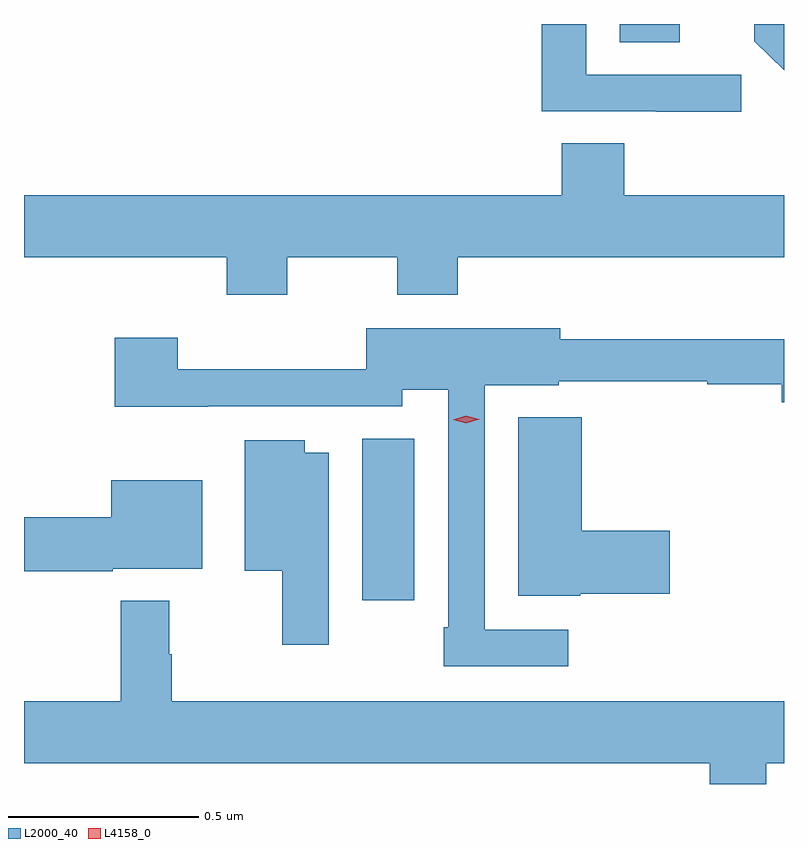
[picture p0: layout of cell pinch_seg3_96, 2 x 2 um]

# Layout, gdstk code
import gdstk
lib = gdstk.Library(unit=1e-6, precision=1e-09)
def R(c, l, rs):  # rectangles x0, y0, x1, y1
    for r in rs: c.add(gdstk.rectangle(r[:2], r[2:], *l))
def P(c, l, *ps):  # polygons
    for p in ps: c.add(gdstk.Polygon(p, *l))
L2000_40 = (2000, 40)
L4158_0 = (4158, 0)

pinch_seg3_96 = lib.new_cell('pinch_seg3_96')
R(pinch_seg3_96, L2000_40, [(1065.338,719.994,1065.475,720.419), (1066.016,721.462,1066.174,721.51)])
P(pinch_seg3_96, L2000_40, [(1066.336,721.377),(1065.927,721.377),(1065.927,721.51),(1065.811,721.51),(1065.811,721.281),(1066.111,721.281),(1066.111,721.279),(1066.336,721.279)],
  [(1066.448,721.51),(1066.37,721.51),(1066.37,721.465),(1066.448,721.388)],
  [(1065.141,720.896),(1065.43,720.896),(1065.43,720.797),(1065.59,720.797),(1065.59,720.896),(1066.448,720.896),(1066.448,721.06),(1066.028,721.06),(1066.028,721.196),(1065.863,721.196),(1065.863,721.06),(1064.448,721.06),(1064.448,720.896),(1064.981,720.896),(1064.981,720.797),(1065.141,720.797)],
  [(1065.88,719.916),(1065.66,719.916),(1065.66,720.56),(1065.855,720.56),(1065.855,720.57),(1066.246,720.57),(1066.246,720.562),(1066.442,720.562),(1066.442,720.515),(1066.448,720.515),(1066.448,720.68),(1065.859,720.68),(1065.859,720.709),(1065.348,720.709),(1065.348,720.602),(1064.852,720.602),(1064.852,720.685),(1064.687,720.685),(1064.687,720.503),(1064.933,720.503),(1064.933,720.504),(1065.444,720.504),(1065.444,720.548),(1065.564,720.548),(1065.564,719.923),(1065.552,719.923),(1065.552,719.82),(1065.88,719.82)],
  [(1065.912,720.011),(1066.147,720.011),(1066.147,720.177),(1065.916,720.177),(1065.916,720.475),(1065.749,720.475),(1065.749,720.005),(1065.912,720.005)],
  [(1065.25,720.382),(1065.187,720.382),(1065.187,720.415),(1065.029,720.415),(1065.029,720.071),(1065.128,720.071),(1065.128,719.877),(1065.25,719.877)],
  [(1064.682,720.077),(1064.917,720.077),(1064.917,720.31),(1064.678,720.31),(1064.678,720.212),(1064.448,720.212),(1064.448,720.07),(1064.682,720.07)],
  [(1066.401,719.564),(1066.448,719.564),(1066.448,719.728),(1064.837,719.728),(1064.837,719.852),(1064.83,719.852),(1064.83,719.992),(1064.702,719.992),(1064.702,719.728),(1064.448,719.728),(1064.448,719.564),(1066.253,719.564),(1066.253,719.51),(1066.401,719.51)])
P(pinch_seg3_96, L4158_0, [(1065.612,720.459),(1065.577,720.468),(1065.576,720.468),(1065.577,720.468),(1065.611,720.479),(1065.646,720.47),(1065.647,720.47),(1065.646,720.47)])

lib.write_gds('pinch_seg3_96.gds')
